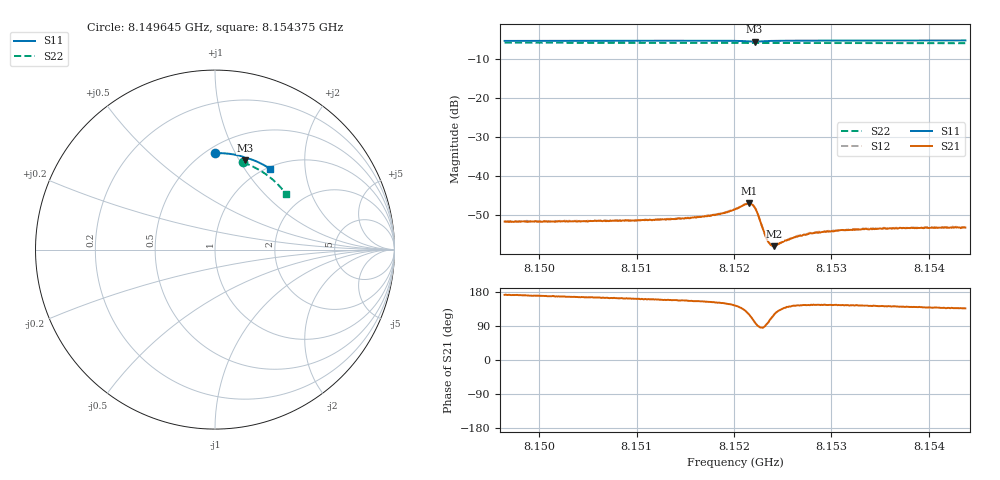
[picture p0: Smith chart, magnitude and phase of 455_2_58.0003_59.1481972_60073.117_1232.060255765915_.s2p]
#  HZ  S  RI  R  50.00
! Rohde & Schwarz Vector Network Analyzer
! Rohde-Schwarz,ZNB20-2Port,1311601062101988,3.16
! Created: UTC 3/21/2024, 1:10:43 AM
! freq[Hz]  re:S11  im:S11  re:S21  im:S21  re:S12  im:S12  re:S22  im:S22
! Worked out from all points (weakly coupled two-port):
!   401 points, 8.149645 GHz to 8.154375 GHz, reference 50 ohm
!   highest |S21| = -46.96 dB at 8.152152 GHz (marker M1); lowest = -57.9 dB at 8.152412 GHz (marker M2)
!   lowest |S11| = -5.6 dB at 8.152211 GHz (marker M3), VSWR 3.22, Z = 38.5 + j53.2 ohm
!   |S11| at or under -10 dB: nowhere
!   |S22| runs from -6.0 to -5.8 dB; largest |S21 - S12| = 0.00011
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8.1496448e9  -0.00056 0.5377  -0.00261 0.000372  -0.00261 0.000434  0.1556 0.4855
8.1504371e9  0.0548 0.5363  -0.00259 0.000635  -0.0026 0.000722  0.2029 0.4666
8.1512293e9  0.1097 0.5289  -0.00261 0.000989  -0.00261 0.00101  0.2479 0.4431
8.1515367e9  0.1311 0.5245  -0.00266 0.00118  -0.00268 0.00121  0.2646 0.4328
8.1517378e9  0.1455 0.5207  -0.0028 0.00139  -0.00281 0.00147  0.2752 0.4256
8.1518797e9  0.1558 0.5172  -0.00292 0.00166  -0.00293 0.00172  0.2827 0.4204
8.1520097e9  0.166 0.5125  -0.00305 0.00225  -0.00302 0.00231  0.2894 0.4155
8.1521043e9  0.1724 0.5062  -0.00289 0.00318  -0.00289 0.00327  0.2941 0.4117
8.1521516e9  0.1734 0.5016  -0.00231 0.00385  -0.00228 0.00391  0.2964 0.4098
8.1521871e9  0.1718 0.4988  -0.00142 0.00409  -0.00139 0.00414  0.298 0.4084
8.1522107e9  0.1699 0.4985  -0.000724 0.00395  -0.00069 0.00396  0.299 0.4076
8.1522462e9  0.1681 0.5003  2.66e-05 0.00322  3.88e-05 0.00327  0.3007 0.4062
8.1523053e9  0.1704 0.505  0.000111 0.00198  0.000144 0.00197  0.3037 0.4043
8.1523408e9  0.1734 0.5067  -0.000166 0.00152  -0.000126 0.00156  0.3056 0.403
8.1523526e9  0.1746 0.5072  -0.000236 0.00142  -0.000248 0.0014  0.3061 0.4025
8.1523763e9  0.1768 0.5076  -0.000418 0.00126  -0.000406 0.00127  0.3074 0.4016
8.1524118e9  0.18 0.5076  -0.00064 0.0011  -0.000641 0.00114  0.3092 0.4001
8.1526364e9  0.1978 0.5041  -0.00136 0.00101  -0.00135 0.00102  0.3202 0.391
8.152802e9  0.2096 0.5  -0.00152 0.00106  -0.00155 0.0011  0.3281 0.3841
8.1530976e9  0.2293 0.4922  -0.00167 0.00119  -0.00169 0.00118  0.3417 0.3714
8.1535942e9  0.2607 0.4771  -0.0017 0.00134  -0.00167 0.00137  0.3636 0.3489
8.1543746e9  0.3073 0.4499  -0.00159 0.00153  -0.00162 0.00156  0.3948 0.311
